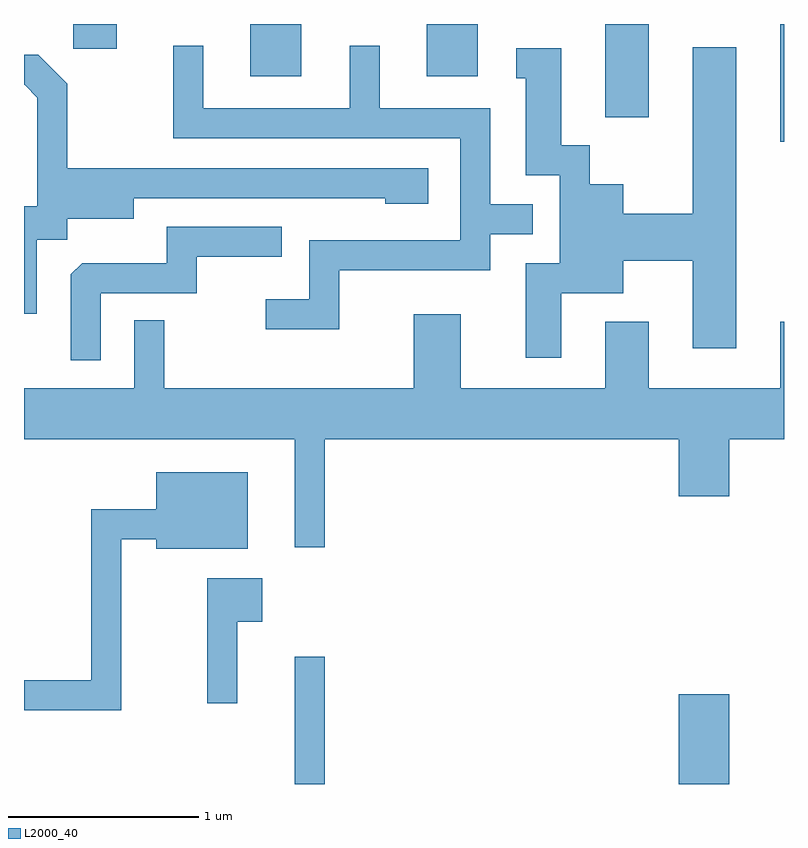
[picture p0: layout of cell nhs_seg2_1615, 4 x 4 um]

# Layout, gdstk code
import gdstk
lib = gdstk.Library(unit=1e-6, precision=1e-09)
def R(c, l, rs):  # rectangles x0, y0, x1, y1
    for r in rs: c.add(gdstk.rectangle(r[:2], r[2:], *l))
def P(c, l, *ps):  # polygons
    for p in ps: c.add(gdstk.Polygon(p, *l))
L2000_40 = (2000, 40)

nhs_seg2_1615 = lib.new_cell('nhs_seg2_1615')
R(nhs_seg2_1615, L2000_40, [(233.036,1079.802,233.194,1080.473), (235.056,1079.802,235.324,1080.274), (235.591,1083.181,235.611,1083.802), (234.671,1083.311,234.899,1083.802), (232.801,1083.526,233.069,1083.802), (233.731,1083.526,233.999,1083.802), (231.871,1083.671,232.099,1083.802)])
P(nhs_seg2_1615, L2000_40, [(233.269,1082.506),(234.064,1082.506),(234.064,1082.696),(234.288,1082.696),(234.288,1082.854),(234.064,1082.854),(234.064,1083.359),(233.484,1083.359),(233.484,1083.688),(233.326,1083.688),(233.326,1083.359),(232.554,1083.359),(232.554,1083.688),(232.396,1083.688),(232.396,1083.201),(233.906,1083.201),(233.906,1082.664),(233.111,1082.664),(233.111,1082.354),(232.883,1082.354),(232.883,1082.196),(233.269,1082.196)],
  [(234.439,1082.386),(234.764,1082.386),(234.764,1082.556),(235.131,1082.556),(235.131,1082.096),(235.359,1082.096),(235.359,1083.679),(235.131,1083.679),(235.131,1082.804),(234.764,1082.804),(234.764,1082.959),(234.589,1082.959),(234.589,1083.164),(234.439,1083.164),(234.439,1083.674),(234.203,1083.674),(234.203,1083.516),(234.251,1083.516),(234.251,1083.006),(234.431,1083.006),(234.431,1082.544),(234.251,1082.544),(234.251,1082.046),(234.439,1082.046)],
  [(231.679,1082.666),(231.839,1082.666),(231.839,1082.776),(232.189,1082.776),(232.189,1082.886),(233.511,1082.886),(233.511,1082.856),(233.739,1082.856),(233.739,1083.044),(231.839,1083.044),(231.839,1083.487),(231.687,1083.639),(231.611,1083.639),(231.611,1083.481),(231.614,1083.481),(231.681,1083.414),(231.681,1082.844),(231.611,1082.844),(231.611,1082.278),(231.679,1082.278)],
  [(232.014,1082.386),(232.519,1082.386),(232.519,1082.576),(232.968,1082.576),(232.968,1082.734),(232.361,1082.734),(232.361,1082.544),(231.917,1082.544),(231.856,1082.484),(231.856,1082.033),(232.014,1082.033)],
  [(233.194,1081.616),(235.056,1081.616),(235.056,1081.316),(235.324,1081.316),(235.324,1081.616),(235.611,1081.616),(235.611,1082.234),(235.591,1082.234),(235.591,1081.884),(234.899,1081.884),(234.899,1082.234),(234.671,1082.234),(234.671,1081.884),(233.909,1081.884),(233.909,1082.274),(233.661,1082.274),(233.661,1081.884),(232.349,1081.884),(232.349,1082.243),(232.191,1082.243),(232.191,1081.884),(231.611,1081.884),(231.611,1081.616),(233.036,1081.616),(233.036,1081.048),(233.194,1081.048)],
  [(232.124,1081.091),(232.306,1081.091),(232.306,1081.041),(232.789,1081.041),(232.789,1081.444),(232.306,1081.444),(232.306,1081.249),(231.966,1081.249),(231.966,1080.349),(231.611,1080.349),(231.611,1080.191),(232.124,1080.191)],
  [(232.734,1080.656),(232.864,1080.656),(232.864,1080.884),(232.576,1080.884),(232.576,1080.228),(232.734,1080.228)])

lib.write_gds('nhs_seg2_1615.gds')
